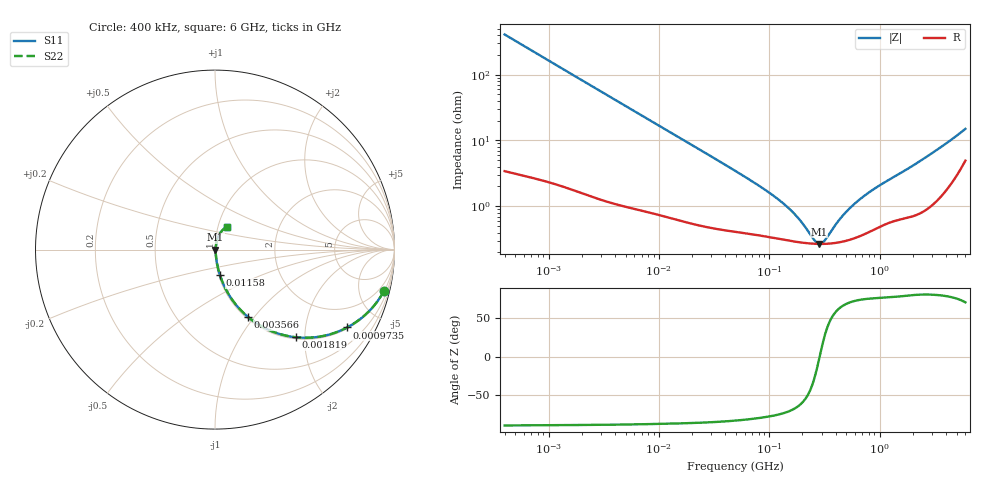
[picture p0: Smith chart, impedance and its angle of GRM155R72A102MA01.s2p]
!Murata Part Number: GRM155R72A102MA01
!These Parameters are Measured in Series Mode Connection
!Data Generated on Mar 30, 2021
!  o--ll--o
!Port1  Port2
!  o------o
!Operation Temp=25[degC], DC Bias Voltage=0[V]
!Freq. Start=400[kHz] Stop=6[GHz] 401[Steps]
# Hz S RI R 50
!Freq.(Hz) S11(Real) S11(Imag) S21(Real) S21(Imag) S12(Real) S12(Imag) S22(Real) S22(Imag)
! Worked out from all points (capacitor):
!   401 points, 400 kHz to 6 GHz, reference 50 ohm
!   read as one part in series: C = 975 pF near 419.7 kHz
!   lowest |Z| = 269 mohm at 283.3 MHz (marker M1)
!   series resonance near 286.6 MHz, so ESL is about 320 pH
!   S11 on the Smith chart (normalised r, x): 400 kHz: 1.07, -8.15; 973.5 kHz: 1.05, -3.37; 1.819 MHz: 1.03, -1.81; 3.566 MHz: 1.02, -0.93; 11.58 MHz: 1.01, -0.29; 6 GHz: 1.10, +0.28
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400000  0.9415 -0.2305  0.0585 0.2305  0.0585 0.2305  0.9415 -0.2305
631574  0.8674 -0.3337  0.1326 0.3337  0.1326 0.3337  0.8674 -0.3337
973528  0.7364 -0.4337  0.2636 0.4337  0.2636 0.4337  0.7364 -0.4337
1818839  0.4519 -0.4885  0.5481 0.4885  0.5481 0.4885  0.4519 -0.4885
2002420  0.4062 -0.4816  0.5938 0.4816  0.5938 0.4816  0.4062 -0.4816
3565503  0.184 -0.3754  0.816 0.3754  0.816 0.3754  0.184 -0.3754
5629698  0.0878 -0.2676  0.9122 0.2676  0.9122 0.2676  0.0878 -0.2676
1.002422e7  0.0341 -0.1608  0.9659 0.1608  0.9659 0.1608  0.0341 -0.1608
1.157956e7  0.0272 -0.1406  0.9728 0.1406  0.9728 0.1406  0.0272 -0.1406
4.89898e7  0.00525 -0.0342  0.9947 0.0342  0.9947 0.0342  0.00525 -0.0342
9.152749e7  0.00378 -0.0174  0.9962 0.0174  0.9962 0.0174  0.00378 -0.0174
1.377322e8  0.00319 -0.0101  0.9968 0.0101  0.9968 0.0101  0.00319 -0.0101
1.837884e8  0.00288 -0.0059  0.9971 0.0059  0.9971 0.0059  0.00288 -0.0059
2.452454e8  0.00271 -0.00203  0.9973 0.00203  0.9973 0.00203  0.00271 -0.00203
2.832972e8  0.00268 -0.000149  0.9973 0.000149  0.9973 0.000149  0.00268 -0.000149
3.194798e8  0.00268 0.00143  0.9973 -0.00143  0.9973 -0.00143  0.00268 0.00143
4.366831e8  0.00287 0.00569  0.9971 -0.00569  0.9971 -0.00569  0.00287 0.00569
5.827055e8  0.00333 0.01  0.9967 -0.01  0.9967 -0.01  0.00333 0.01
8.158538e8  0.00435 0.0159  0.9957 -0.0159  0.9957 -0.0159  0.00435 0.0159
1.227711e9  0.0062 0.0246  0.9938 -0.0246  0.9938 -0.0246  0.0062 0.0246
3.451644e9  0.0181 0.0721  0.9819 -0.0721  0.9819 -0.0721  0.0181 0.0721
6e9  0.0642 0.1265  0.9358 -0.1265  0.9358 -0.1265  0.0642 0.1265
